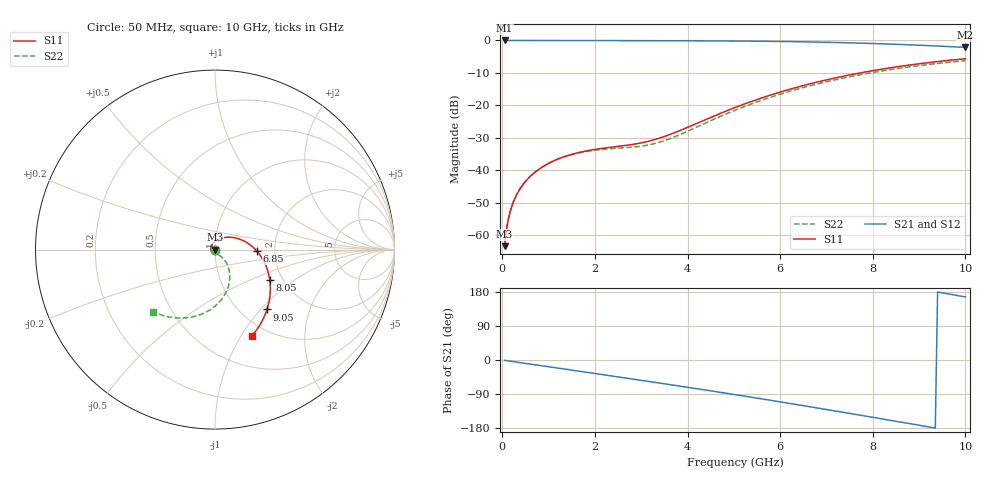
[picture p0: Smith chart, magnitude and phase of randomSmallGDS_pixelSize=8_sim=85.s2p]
! freq	dB(S11)	phase(S11)	dB(S12)	phase(S12)
!  dB(S21)	phase(S21)	dB(S22)	phase(S22)
!S-par simulation data
#  GHz  S  DB  R 50
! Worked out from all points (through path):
!   200 points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, 50 MHz to 10 GHz, reference 50 ohm
!   highest |S21| = 0.00 dB at 50 MHz (marker M1); lowest = -2.1 dB at 10 GHz (marker M2)
!   group delay of S21, straight-line fit = 53.6 ps
!   lowest |S11| = -63.4 dB at 50 MHz (marker M3), VSWR 1.00, Z = 50 - j0.0678 ohm
!   |S11| at or under -10 dB: start of sweep to 7.727 GHz
!   |S22| runs from -63.2 to -6.2 dB; largest |S21 - S12| = 0
!   S11 on the Smith chart (normalised r, x): 50 MHz: 1.00, -0.00; 6.85 GHz: 1.61, -0.03; 8.05 GHz: 1.72, -0.65; 9.05 GHz: 1.31, -1.08; 10 GHz: 0.84, -1.11
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0.05  -63.37 -88.7  -0.00 -0.9  -0.00 -0.9  -63.20 -87.7
0.1  -57.36 -91.7  -0.00 -1.8  -0.00 -1.8  -57.19 -89.5
0.15  -53.84 -93.7  -0.00 -2.7  -0.00 -2.7  -53.68 -90.4
0.2  -51.34 -95.4  -0.00 -3.6  -0.00 -3.6  -51.19 -91.1
0.35  -46.51 -100.2  -0.01 -6.3  -0.01 -6.3  -46.38 -92.7
0.5  -43.46 -104.8  -0.01 -8.9  -0.01 -8.9  -43.37 -94.0
0.7  -40.67 -110.9  -0.02 -12.5  -0.02 -12.5  -40.60 -95.7
1  -37.87 -120.2  -0.02 -17.8  -0.02 -17.8  -37.84 -97.9
1.35  -35.75 -131.8  -0.03 -24.0  -0.03 -24.0  -35.77 -99.7
1.75  -34.21 -146.5  -0.04 -31.1  -0.04 -31.1  -34.35 -100.4
2.9  -31.83 155.8  -0.06 -51.8  -0.06 -51.8  -32.74 -85.3
3.4  -30.07 124.0  -0.08 -60.9  -0.08 -60.9  -31.33 -69.2
4.25  -25.22 77.5  -0.12 -76.6  -0.12 -76.6  -26.34 -49.7
5.05  -20.52 46.9  -0.18 -91.8  -0.18 -91.8  -21.35 -48.1
5.85  -16.56 23.1  -0.28 -107.4  -0.28 -107.4  -17.23 -55.3
6.7  -13.17 1.6  -0.47 -124.5  -0.47 -124.5  -13.76 -67.6
6.85  -12.65 -2.0  -0.51 -127.5  -0.51 -127.5  -13.23 -70.1
7.45  -10.77 -15.7  -0.71 -139.8  -0.71 -139.8  -11.33 -80.8
8.05  -9.18 -28.7  -0.96 -152.2  -0.96 -152.2  -9.74 -92.3
8.35  -8.49 -35.0  -1.11 -158.5  -1.11 -158.5  -9.05 -98.4
9.05  -7.09 -49.0  -1.50 -173.2  -1.50 -173.2  -7.67 -113.1
10  -5.63 -67.0  -2.13 166.5  -2.13 166.5  -6.24 -134.8
